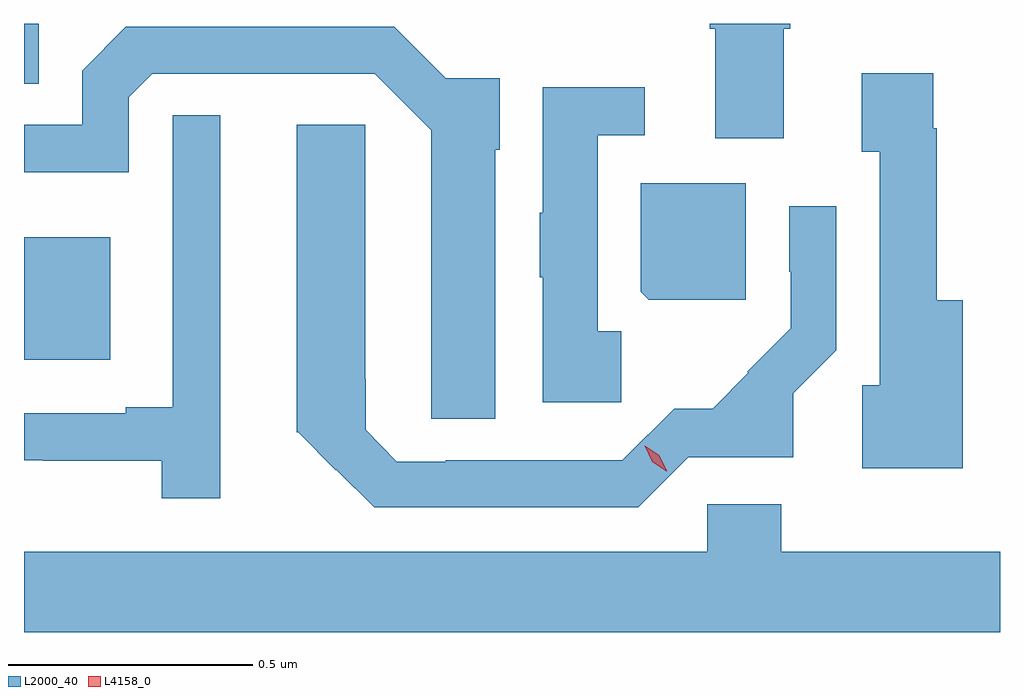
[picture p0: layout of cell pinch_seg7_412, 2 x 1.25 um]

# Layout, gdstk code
import gdstk
lib = gdstk.Library(unit=1e-6, precision=1e-09)
def R(c, l, rs):  # rectangles x0, y0, x1, y1
    for r in rs: c.add(gdstk.rectangle(r[:2], r[2:], *l))
def P(c, l, *ps):  # polygons
    for p in ps: c.add(gdstk.Polygon(p, *l))
L2000_40 = (2000, 40)
L4158_0 = (4158, 0)

pinch_seg7_412 = lib.new_cell('pinch_seg7_412')
R(pinch_seg7_412, L2000_40, [(546.142,1018.49,546.319,1018.741), (546.142,1019.056,546.172,1019.178)])
P(pinch_seg7_412, L2000_40, [(547.699,1019.168),(547.712,1019.168),(547.712,1019.178),(547.547,1019.178),(547.547,1019.168),(547.559,1019.168),(547.559,1018.944),(547.699,1018.944)],
  [(547.108,1018.92),(547.117,1018.92),(547.117,1019.067),(547.006,1019.067),(546.901,1019.172),(546.351,1019.172),(546.261,1019.082),(546.261,1018.971),(546.142,1018.971),(546.142,1018.874),(546.357,1018.874),(546.357,1019.028),(546.405,1019.076),(546.861,1019.076),(546.977,1018.96),(546.977,1018.369),(547.108,1018.369)],
  [(548.066,1018.612),(548.012,1018.612),(548.012,1018.964),(548.005,1018.964),(548.005,1019.077),(547.859,1019.077),(547.859,1018.916),(547.896,1018.916),(547.896,1018.438),(547.86,1018.438),(547.86,1018.268),(548.066,1018.268)],
  [(547.366,1018.548),(547.318,1018.548),(547.318,1018.95),(547.414,1018.95),(547.414,1019.048),(547.205,1019.048),(547.205,1018.791),(547.199,1018.791),(547.199,1018.659),(547.205,1018.659),(547.205,1018.403),(547.366,1018.403)],
  [(546.544,1018.991),(546.447,1018.991),(546.447,1018.393),(546.35,1018.393),(546.35,1018.38),(546.142,1018.38),(546.142,1018.284),(546.181,1018.284),(546.181,1018.283),(546.424,1018.283),(546.424,1018.206),(546.544,1018.206)],
  [(547.503,1018.29),(547.718,1018.29),(547.718,1018.421),(547.806,1018.509),(547.806,1018.804),(547.71,1018.804),(547.71,1018.67),(547.713,1018.67),(547.713,1018.554),(547.624,1018.465),(547.626,1018.463),(547.553,1018.39),(547.474,1018.39),(547.368,1018.284),(547.006,1018.284),(547.006,1018.281),(546.906,1018.281),(546.842,1018.346),(546.842,1018.45),(546.841,1018.45),(546.841,1018.972),(546.701,1018.972),(546.701,1018.341),(546.704,1018.341),(546.781,1018.264),(546.782,1018.265),(546.86,1018.188),(547.401,1018.188)],
  [(547.621,1018.852),(547.406,1018.852),(547.406,1018.629),(547.422,1018.613),(547.621,1018.613)],
  [(548.142,1018.096),(547.694,1018.096),(547.694,1018.194),(547.542,1018.194),(547.542,1018.096),(546.142,1018.096),(546.142,1017.932),(548.142,1017.932)])
P(pinch_seg7_412, L4158_0, [(547.458,1018.261),(547.429,1018.281),(547.414,1018.314),(547.414,1018.314),(547.414,1018.314),(547.444,1018.294),(547.459,1018.262),(547.459,1018.261)])

lib.write_gds('pinch_seg7_412.gds')
